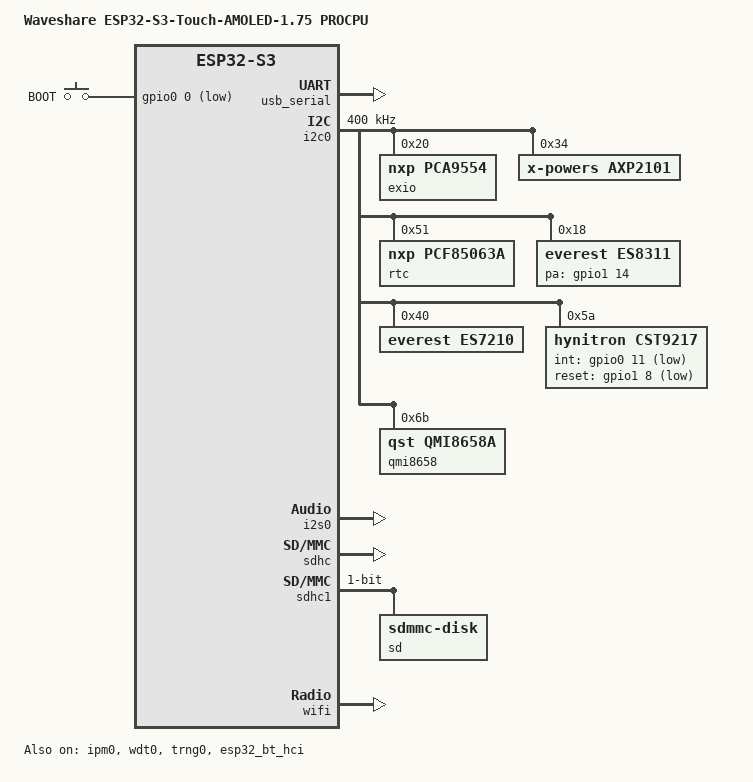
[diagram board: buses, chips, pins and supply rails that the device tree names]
/*
 * Copyright (c) 2026 Adi Nandanamudi
 * SPDX-License-Identifier: Apache-2.0
 *
 * Core 0 (PROCPU): owns Wi-Fi/BLE, the I2C bus (power, sensors, touch, codec
 * control), audio and the TF card. The display belongs to core 1 (see the
 * _appcpu.dts); SPI2 is deliberately left disabled here.
 */

/dts-v1/;

#include <espressif/esp32s3/esp32s3.dtsi>
#include <espressif/partitions_0x0_amp_16M.dtsi>
#include <zephyr/dt-bindings/input/input-event-codes.h>
#include <zephyr/dt-bindings/gpio/gpio.h>
#include "esp32s3_touch_amoled_1_75-pinctrl.dtsi"

/ {
	model = "Waveshare ESP32-S3-Touch-AMOLED-1.75 PROCPU";
	compatible = "waveshare,esp32-s3-touch-amoled-1.75";

	chosen {
		zephyr,sram = &sram1;
		zephyr,ipc_shm = &shm0;
		zephyr,ipc = &ipm0;
		zephyr,flash = &flash0;
		zephyr,code-partition = &slot0_partition;
		zephyr,console = &usb_serial;
		zephyr,shell-uart = &usb_serial;
		zephyr,bt-hci = &esp32_bt_hci;
		zephyr,touch = &cst9217;
	};

	aliases {
		i2c-0 = &i2c0;
		rtc = &rtc;
		imu0 = &qmi8658;
		sw0 = &boot_button;
		watchdog0 = &wdt0;
	};

	buttons {
		compatible = "gpio-keys";

		/* GPIO0, 10k pull-up on the board, low while pressed (strap pin). */
		boot_button: boot_button {
			gpios = <&gpio0 0 GPIO_ACTIVE_LOW>;
			label = "BOOT";
			zephyr,code = <INPUT_KEY_0>;
		};
	};
};

&flash0 {
	reg = <0x0 DT_SIZE_M(16)>;
	ranges = <0x0 0x0 DT_SIZE_M(16)>;
};

&psram0 {
	size = <DT_SIZE_M(8)>;
};

&usb_serial {
	status = "okay";
};

&gpio0 {
	status = "okay";
};

&gpio1 {
	status = "okay";
};

&ipm0 {
	status = "okay";
};

&i2c0 {
	status = "okay";
	clock-frequency = <I2C_BITRATE_FAST>;
	pinctrl-0 = <&i2c0_default>;
	pinctrl-names = "default";

	/* TCA9554PWR, register-compatible with PCA9554, A2:A0 = 000. Its INT pin
	 * is not wired to the ESP32, so inputs must be polled.
	 *   P3 RTC_INT, P4 SYS_OUT (PWR key, high = pressed), P5 AXP_IRQ,
	 *   P6 QMI_INT1, P7 GPS_RST (unused on the -B), P0-P2 test points.
	 */
	exio: gpio@20 {
		compatible = "nxp,pca9554";
		reg = <0x20>;
		gpio-controller;
		#gpio-cells = <2>;
		ngpios = <8>;
	};

	/* Power: DCDC1 = VCC3V3 (ESP32, flash, display, touch, sensors, SD),
	 * ALDO1 = A3V3 (audio). The rails are left at their power-on defaults
	 * for now; they get regulator children once read back from the chip.
	 */
	axp2101: pmic@34 {
		compatible = "x-powers,axp2101";
		reg = <0x34>;
	};

	rtc: rtc@51 {
		compatible = "nxp,pcf85063a";
		reg = <0x51>;
	};

	/* ES8311 speaker DAC. CE is pulled low (0x18); the NS4150B amp is
	 * enabled straight from GPIO46 (gpio1 pin 14).
	 */
	es8311: codec@18 {
		compatible = "everest,es8311";
		reg = <0x18>;
		pa-gpios = <&gpio1 14 GPIO_ACTIVE_HIGH>;
	};

	/* ES7210 mic ADC: MIC1/MIC2 = the two onboard mics, MIC3 = the ES8311
	 * output (echo reference), MIC4 not connected.
	 */
	es7210: codec@40 {
		compatible = "everest,es7210";
		reg = <0x40>;
		mic-gain-db = <30>;
	};

	/* CST9217 touch, 466x466. Its axes run opposite to the panel's
	 * (Waveshare's BSP mirrors both), so invert both here.
	 */
	cst9217: touch@5a {
		compatible = "hynitron,cst9217";
		reg = <0x5a>;
		int-gpios = <&gpio0 11 GPIO_ACTIVE_LOW>;
		reset-gpios = <&gpio1 8 GPIO_ACTIVE_LOW>;
		screen-width = <466>;
		screen-height = <466>;
		inverted-x;
		inverted-y;
	};

	qmi8658: imu@6b {
		compatible = "qst,qmi8658a";
		reg = <0x6b>;
		accel-fs = <4>;
		gyro-fs = <512>;
		accel-odr = <896>;
		gyro-odr = <896>;
	};
};

/* GDMA: shared by both cores. Core 0 uses channels 2/3 (I2S); core 1 will
 * use 0/1 (display SPI). Each image only touches its own channels.
 */
&dma {
	status = "okay";
};

/* One I2S bus for both codecs (DMA channels 2/3). */
i2s_audio: &i2s0 {
	status = "okay";
	pinctrl-0 = <&i2s0_default>;
	pinctrl-names = "default";
};

/* TF card, native SDMMC 1-bit (CMD 1, CLK 2, D0 3), slot 1 like ESP-IDF. */
&sdhc {
	status = "okay";
};

&sdhc1 {
	status = "okay";
	pinctrl-0 = <&sdhc1_default>;
	pinctrl-names = "default";
	bus-width = <1>;
	max-bus-freq = <20000000>;

	sd: sd {
		compatible = "zephyr,sdmmc-disk";
		disk-name = "SD";
		status = "okay";
	};
};

&wdt0 {
	status = "okay";
};

&trng0 {
	status = "okay";
};

&wifi {
	status = "okay";
};

&esp32_bt_hci {
	status = "okay";
};
